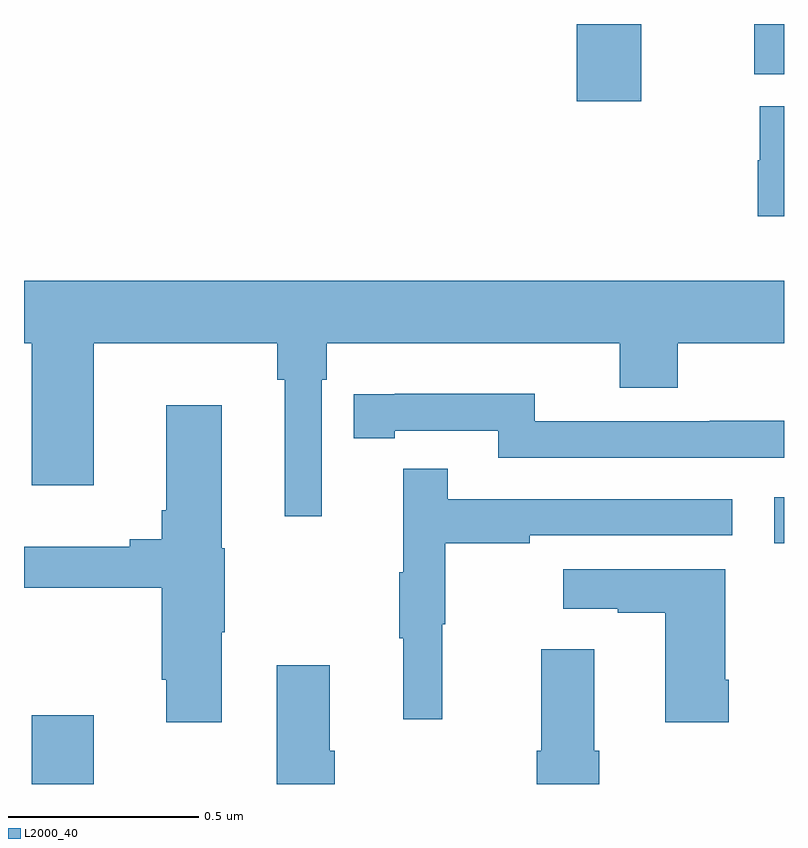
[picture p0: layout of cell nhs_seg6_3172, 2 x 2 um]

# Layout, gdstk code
import gdstk
lib = gdstk.Library(unit=1e-6, precision=1e-09)
def R(c, l, rs):  # rectangles x0, y0, x1, y1
    for r in rs: c.add(gdstk.rectangle(r[:2], r[2:], *l))
def P(c, l, *ps):  # polygons
    for p in ps: c.add(gdstk.Polygon(p, *l))
L2000_40 = (2000, 40)

nhs_seg6_3172 = lib.new_cell('nhs_seg6_3172')
R(nhs_seg6_3172, L2000_40, [(153.02,955.5,153.184,955.681), (154.974,956.133,155,956.254), (154.454,957.297,154.624,957.5), (154.922,957.368,155,957.5)])
P(nhs_seg6_3172, L2000_40, [(155,957.283),(154.936,957.283),(154.936,957.141),(154.931,957.141),(154.931,956.994),(155,956.994)],
  [(153.783,956.564),(153.797,956.564),(153.797,956.66),(154.568,956.66),(154.568,956.543),(154.721,956.543),(154.721,956.66),(155,956.66),(155,956.824),(153,956.824),(153,956.66),(153.02,956.66),(153.02,956.286),(153.184,956.286),(153.184,956.66),(153.667,956.66),(153.667,956.564),(153.686,956.564),(153.686,956.205),(153.783,956.205)],
  [(155,956.456),(154.804,956.456),(154.804,956.454),(154.344,956.454),(154.344,956.527),(153.976,956.527),(153.976,956.526),(153.868,956.526),(153.868,956.41),(153.976,956.41),(153.976,956.43),(154.248,956.43),(154.248,956.358),(155,956.358)],
  [(153.52,955.9),(153.528,955.9),(153.528,956.121),(153.52,956.121),(153.52,956.497),(153.374,956.497),(153.374,956.221),(153.362,956.221),(153.362,956.144),(153.278,956.144),(153.278,956.125),(153,956.125),(153,956.016),(153.362,956.016),(153.362,955.774),(153.374,955.774),(153.374,955.662),(153.52,955.662)],
  [(154.1,955.92),(154.108,955.92),(154.108,956.134),(154.331,956.134),(154.331,956.154),(154.864,956.154),(154.864,956.25),(154.115,956.25),(154.115,956.329),(153.998,956.329),(153.998,956.057),(153.987,956.057),(153.987,955.883),(153.998,955.883),(153.998,955.671),(154.1,955.671)],
  [(154.854,955.774),(154.846,955.774),(154.846,956.065),(154.419,956.065),(154.419,955.961),(154.562,955.961),(154.562,955.951),(154.688,955.951),(154.688,955.662),(154.854,955.662)],
  [(154.514,955.588),(154.501,955.588),(154.501,955.855),(154.361,955.855),(154.361,955.588),(154.349,955.588),(154.349,955.5),(154.514,955.5)],
  [(153.818,955.588),(153.805,955.588),(153.805,955.813),(153.665,955.813),(153.665,955.5),(153.818,955.5)])

lib.write_gds('nhs_seg6_3172.gds')
